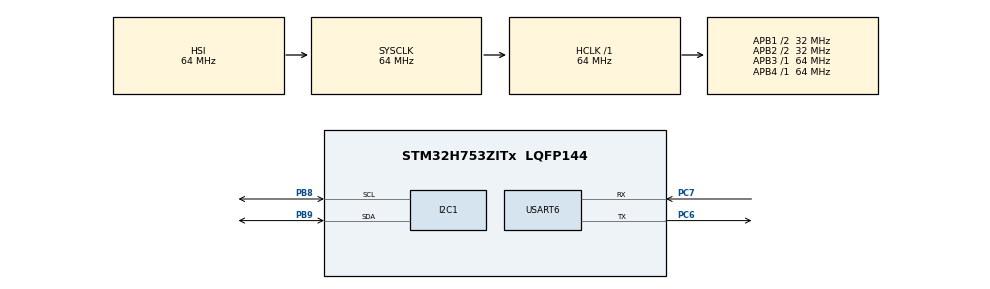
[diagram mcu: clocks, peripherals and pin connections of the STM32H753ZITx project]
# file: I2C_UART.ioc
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I2C1.Timing=0x00707CBB
Mcu.Family=STM32H7
Mcu.Name=STM32H753ZITx
Mcu.Package=LQFP144
NVIC.PriorityGroup=NVIC_PRIORITYGROUP_4
PB8.Mode=I2C
PB8.Signal=I2C1_SCL
PB9.Mode=I2C
PB9.Signal=I2C1_SDA
PC6.Mode=Asynchronous
PC6.Signal=USART6_TX
PC7.Mode=Asynchronous
PC7.Signal=USART6_RX
ProjectManager.HeapSize=0x200
ProjectManager.StackSize=0x400
ProjectManager.TargetToolchain=STM32CubeIDE
RCC.ADCFreq_Value=129000000
RCC.APB1Freq_Value=32000000
RCC.APB2Freq_Value=32000000
RCC.APB3Freq_Value=64000000
RCC.APB4Freq_Value=64000000
RCC.CortexFreq_Value=64000000
RCC.D2PPRE1=RCC_APB1_DIV2
RCC.D2PPRE2=RCC_APB2_DIV2
RCC.HCLKFreq_Value=64000000
RCC.SYSCLKFreq_VALUE=64000000
RCC.USBFreq_Value=129000000
USART6.VirtualMode-Asynchronous=VM_ASYNC
VP_MEMORYMAP_VS_MEMORYMAP.Mode=CurAppReg
board=custom

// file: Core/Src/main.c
/* USER CODE BEGIN Header */
/**
  ******************************************************************************
  * @file           : main.c
  * @brief          : Main program body
  ******************************************************************************
  * @attention
  * STM32_Nucleo-H753zi Master
  * Copyright (c) 2026 STMicroelectronics.
  * All rights reserved.
  *
  * This software is licensed under terms that can be found in the LICENSE file
  * in the root directory of this software component.
  * If no LICENSE file comes with this software, it is provided AS-IS.
  *
  ******************************************************************************
  */
/* USER CODE END Header */
#include "main.h"

/* USER CODE BEGIN Includes */
#include <string.h>
#include <stdio.h>
/* USER CODE END Includes */

I2C_HandleTypeDef hi2c1;

UART_HandleTypeDef huart6;

/* USER CODE BEGIN PV */
#define SLAVE_ADDRESS 0x08  // 7-bit address (will be left-shifted by HAL)
uint8_t TxData[20] = "Hello Arduino!";
uint8_t RxData[20];
/* USER CODE END PV */

void SystemClock_Config(void);
static void MX_GPIO_Init(void);
static void MX_I2C1_Init(void);
static void MX_USART6_UART_Init(void);

/* USER CODE BEGIN 0 */
// Printf retarget function - must be outside main()
int _write(int file, char *ptr, int len)
{
    HAL_UART_Transmit(&huart6, (uint8_t *)ptr, len, HAL_MAX_DELAY);
    return len;
}
/* USER CODE END 0 */

int main(void)
{

  /* USER CODE BEGIN 1 */
  HAL_StatusTypeDef ret;
  /* USER CODE END 1 */

  /* MCU Configuration--------------------------------------------------------*/

  /* Reset of all peripherals, Initializes the Flash interface and the Systick. */
  HAL_Init();

  /* Configure the system clock */
  SystemClock_Config();

  /* Initialize all configured peripherals */
  MX_GPIO_Init();
  MX_I2C1_Init();
  MX_USART6_UART_Init();
  /* USER CODE BEGIN 2 */

  // Wait for Arduino to initialize
  HAL_Delay(2000);

  printf("\r\n=== STM32 I2C Master Started ===\r\n");

  // Initial transmission to slave
  printf("Sending data to slave...\r\n");
  ret = HAL_I2C_Master_Transmit(&hi2c1, (SLAVE_ADDRESS << 1),
                                TxData, strlen((char*)TxData),
                                HAL_MAX_DELAY);

  if(ret == HAL_OK)
  {
      printf("Data sent to slave successfully\r\n");
  }
  else
  {
      printf("Error sending data. HAL Status: %d\r\n", ret);
  }

  // Delay to allow slave to process and prepare response
  HAL_Delay(200);

  // Clear receive buffer
  memset(RxData, 0, sizeof(RxData));

  // Request data from slave
  printf("Requesting data from slave...\r\n");
  ret = HAL_I2C_Master_Receive(&hi2c1, (SLAVE_ADDRESS << 1),
                                RxData, 20, HAL_MAX_DELAY);

  if(ret == HAL_OK)
  {
      printf("Received from slave: %s\r\n", RxData);
  }
  else
  {
      printf("Error receiving data. HAL Status: %d\r\n", ret);
  }

  printf("\r\n=== Entering continuous loop ===\r\n\r\n");

  /* USER CODE END 2 */

  /* Infinite loop */
  /* USER CODE BEGIN WHILE */
  while (1)
  {
    HAL_Delay(3000);

    printf("--- New Transaction ---\r\n");

    // Send data to slave
    printf("TX: Sending to slave...\r\n");
    ret = HAL_I2C_Master_Transmit(&hi2c1, (SLAVE_ADDRESS << 1),
                                  TxData, strlen((char*)TxData),
                                  HAL_MAX_DELAY);

    if(ret == HAL_OK)
    {
        printf("TX: Success\r\n");
    }
    else
    {
        printf("TX: Failed. Status: %d\r\n", ret);
    }

    // Wait for slave to process
    HAL_Delay(200);

    // Clear buffer before receiving
    memset(RxData, 0, sizeof(RxData));

    // Receive response from slave
    printf("RX: Requesting from slave...\r\n");
    ret = HAL_I2C_Master_Receive(&hi2c1, (SLAVE_ADDRESS << 1),
                                  RxData, 20, HAL_MAX_DELAY);

    if(ret == HAL_OK)
    {
        printf("RX: Received: '%s'\r\n", RxData);
    }
    else
    {
        printf("RX: Failed. Status: %d\r\n", ret);
    }

    printf("\r\n");

    /* USER CODE END WHILE */

  }
}

void SystemClock_Config(void)
{
  RCC_OscInitTypeDef RCC_OscInitStruct = {0};
  RCC_ClkInitTypeDef RCC_ClkInitStruct = {0};

  /** Supply configuration update enable
  */
  HAL_PWREx_ConfigSupply(PWR_LDO_SUPPLY);

  /** Configure the main internal regulator output voltage
  */
  __HAL_PWR_VOLTAGESCALING_CONFIG(PWR_REGULATOR_VOLTAGE_SCALE3);

  while(!__HAL_PWR_GET_FLAG(PWR_FLAG_VOSRDY)) {}

  /** Initializes the RCC Oscillators according to the specified parameters
  * in the RCC_OscInitTypeDef structure.
  */
  RCC_OscInitStruct.OscillatorType = RCC_OSCILLATORTYPE_HSI;
  RCC_OscInitStruct.HSIState = RCC_HSI_DIV1;
  RCC_OscInitStruct.HSICalibrationValue = RCC_HSICALIBRATION_DEFAULT;
  RCC_OscInitStruct.PLL.PLLState = RCC_PLL_NONE;
  if (HAL_RCC_OscConfig(&RCC_OscInitStruct) != HAL_OK)
  {
    Error_Handler();
  }

  /** Initializes the CPU, AHB and APB buses clocks
  */
  RCC_ClkInitStruct.ClockType = RCC_CLOCKTYPE_HCLK|RCC_CLOCKTYPE_SYSCLK
                              |RCC_CLOCKTYPE_PCLK1|RCC_CLOCKTYPE_PCLK2
                              |RCC_CLOCKTYPE_D3PCLK1|RCC_CLOCKTYPE_D1PCLK1;
  RCC_ClkInitStruct.SYSCLKSource = RCC_SYSCLKSOURCE_HSI;
  RCC_ClkInitStruct.SYSCLKDivider = RCC_SYSCLK_DIV1;
  RCC_ClkInitStruct.AHBCLKDivider = RCC_HCLK_DIV1;
  RCC_ClkInitStruct.APB3CLKDivider = RCC_APB3_DIV1;
  RCC_ClkInitStruct.APB1CLKDivider = RCC_APB1_DIV2;
  RCC_ClkInitStruct.APB2CLKDivider = RCC_APB2_DIV2;
  RCC_ClkInitStruct.APB4CLKDivider = RCC_APB4_DIV1;

  if (HAL_RCC_ClockConfig(&RCC_ClkInitStruct, FLASH_LATENCY_1) != HAL_OK)
  {
    Error_Handler();
  }
}

static void MX_I2C1_Init(void)
{

  hi2c1.Instance = I2C1;
  hi2c1.Init.Timing = 0x00707CBB;
  hi2c1.Init.OwnAddress1 = 0;
  hi2c1.Init.AddressingMode = I2C_ADDRESSINGMODE_7BIT;
  hi2c1.Init.DualAddressMode = I2C_DUALADDRESS_DISABLE;
  hi2c1.Init.OwnAddress2 = 0;
  hi2c1.Init.OwnAddress2Masks = I2C_OA2_NOMASK;
  hi2c1.Init.GeneralCallMode = I2C_GENERALCALL_DISABLE;
  hi2c1.Init.NoStretchMode = I2C_NOSTRETCH_DISABLE;
  if (HAL_I2C_Init(&hi2c1) != HAL_OK)
  {
    Error_Handler();
  }

  /** Configure Analogue filter
  */
  if (HAL_I2CEx_ConfigAnalogFilter(&hi2c1, I2C_ANALOGFILTER_ENABLE) != HAL_OK)
  {
    Error_Handler();
  }

  /** Configure Digital filter
  */
  if (HAL_I2CEx_ConfigDigitalFilter(&hi2c1, 0) != HAL_OK)
  {
    Error_Handler();
  }

}

static void MX_USART6_UART_Init(void)
{

  huart6.Instance = USART6;
  huart6.Init.BaudRate = 115200;
  huart6.Init.WordLength = UART_WORDLENGTH_8B;
  huart6.Init.StopBits = UART_STOPBITS_1;
  huart6.Init.Parity = UART_PARITY_NONE;
  huart6.Init.Mode = UART_MODE_TX_RX;
  huart6.Init.HwFlowCtl = UART_HWCONTROL_NONE;
  huart6.Init.OverSampling = UART_OVERSAMPLING_16;
  huart6.Init.OneBitSampling = UART_ONE_BIT_SAMPLE_DISABLE;
  huart6.Init.ClockPrescaler = UART_PRESCALER_DIV1;
  huart6.AdvancedInit.AdvFeatureInit = UART_ADVFEATURE_NO_INIT;
  if (HAL_UART_Init(&huart6) != HAL_OK)
  {
    Error_Handler();
  }
  if (HAL_UARTEx_SetTxFifoThreshold(&huart6, UART_TXFIFO_THRESHOLD_1_8) != HAL_OK)
  {
    Error_Handler();
  }
  if (HAL_UARTEx_SetRxFifoThreshold(&huart6, UART_RXFIFO_THRESHOLD_1_8) != HAL_OK)
  {
    Error_Handler();
  }
  if (HAL_UARTEx_DisableFifoMode(&huart6) != HAL_OK)
  {
    Error_Handler();
  }

}

static void MX_GPIO_Init(void)
{

  /* GPIO Ports Clock Enable */
  __HAL_RCC_GPIOC_CLK_ENABLE();
  __HAL_RCC_GPIOB_CLK_ENABLE();

}

void Error_Handler(void)
{
  __disable_irq();
  while (1)
  {
  }
}
